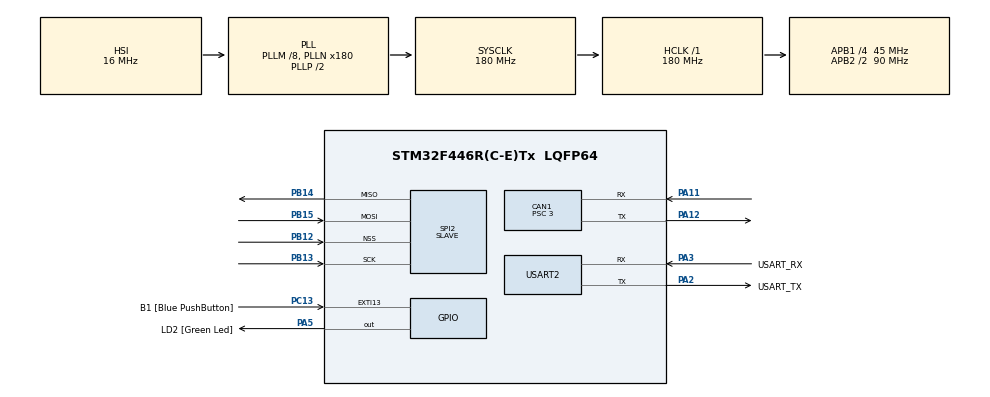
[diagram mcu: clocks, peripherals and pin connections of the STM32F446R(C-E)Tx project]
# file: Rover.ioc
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CAN1.BS1=CAN_BS1_12TQ
CAN1.BS2=CAN_BS2_2TQ
CAN1.CalculateBaudRate=1000000
CAN1.CalculateTimeBit=1000
CAN1.CalculateTimeQuantum=66.66666666666666
CAN1.Prescaler=3
Mcu.Family=STM32F4
Mcu.Name=STM32F446R(C-E)Tx
Mcu.Package=LQFP64
NVIC.CAN1_RX0_IRQn=true\:0\:0\:false\:false\:true\:true\:true\:true
NVIC.PriorityGroup=NVIC_PRIORITYGROUP_0
NVIC.SPI2_IRQn=true\:0\:0\:false\:false\:true\:true\:true\:true
PA11.Mode=CAN_Activate
PA11.Signal=CAN1_RX
PA12.Mode=CAN_Activate
PA12.Signal=CAN1_TX
PA13.GPIO_Label=TMS
PA13.Mode=Serial_Wire
PA13.Signal=SYS_JTMS-SWDIO
PA14.GPIO_Label=TCK
PA14.Mode=Serial_Wire
PA14.Signal=SYS_JTCK-SWCLK
PA2.GPIO_Label=USART_TX
PA2.Mode=Asynchronous
PA2.Signal=USART2_TX
PA3.GPIO_Label=USART_RX
PA3.Mode=Asynchronous
PA3.Signal=USART2_RX
PA5.GPIO_Label=LD2 [Green Led]
PA5.Signal=GPIO_Output
PB12.Mode=NSS_Signal_Hard_Input
PB12.Signal=SPI2_NSS
PB13.Mode=Full_Duplex_Slave
PB13.Signal=SPI2_SCK
PB14.Mode=Full_Duplex_Slave
PB14.Signal=SPI2_MISO
PB15.Mode=Full_Duplex_Slave
PB15.Signal=SPI2_MOSI
PB3.GPIO_Label=SWO
PB3.Signal=SYS_JTDO-SWO
PC13.GPIO_Label=B1 [Blue PushButton]
PC13.GPIO_ModeDefaultEXTI=GPIO_MODE_IT_FALLING
PC13.Signal=GPXTI13
PC14-OSC32_IN.Mode=LSE-External-Oscillator
PC14-OSC32_IN.Signal=RCC_OSC32_IN
PC15-OSC32_OUT.Mode=LSE-External-Oscillator
PC15-OSC32_OUT.Signal=RCC_OSC32_OUT
PH0-OSC_IN.Mode=HSE-External-Oscillator
PH0-OSC_IN.Signal=RCC_OSC_IN
PH1-OSC_OUT.Mode=HSE-External-Oscillator
PH1-OSC_OUT.Signal=RCC_OSC_OUT
ProjectManager.HeapSize=0x200
ProjectManager.StackSize=0x400
ProjectManager.TargetToolchain=STM32CubeIDE
RCC.48MHZClocksFreq_Value=84000000
RCC.AHBFreq_Value=180000000
RCC.APB1CLKDivider=RCC_HCLK_DIV4
RCC.APB1Freq_Value=45000000
RCC.APB1TimFreq_Value=90000000
RCC.APB2CLKDivider=RCC_HCLK_DIV2
RCC.APB2Freq_Value=90000000
RCC.APB2TimFreq_Value=180000000
RCC.CortexFreq_Value=180000000
RCC.FLatency-AdvancedSettings=FLASH_LATENCY_5
RCC.HCLKFreq_Value=180000000
RCC.HSE_VALUE=8000000
RCC.HSI_VALUE=16000000
RCC.PLLM=8
RCC.PLLN=180
RCC.SYSCLKFreq_VALUE=180000000
RCC.SYSCLKSource=RCC_SYSCLKSOURCE_PLLCLK
RCC.USBFreq_Value=180000000
RCC.VCOOutputFreq_Value=360000000
SPI2.Direction=SPI_DIRECTION_2LINES
SPI2.Mode=SPI_MODE_SLAVE
SPI2.VirtualNSS=VM_NSSHARD
SPI2.VirtualType=VM_SLAVE
USART2.VirtualMode=VM_ASYNC
board=NUCLEO-F446RE

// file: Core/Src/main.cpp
/* USER CODE BEGIN Header */
/**
  ******************************************************************************
  * @file           : main.c
  * @brief          : Main program body
  ******************************************************************************
  * @attention
  *
  * Copyright (c) 2022 STMicroelectronics.
  * All rights reserved.
  *
  * This software is licensed under terms that can be found in the LICENSE file
  * in the root directory of this software component.
  * If no LICENSE file comes with this software, it is provided AS-IS.
  *
  ******************************************************************************
  */
/* USER CODE END Header */
#include "main.h"
#include "can.h"
#include "spi.h"
#include "usart.h"
#include "gpio.h"

/* USER CODE BEGIN Includes */
#include "math.h"
#include "motor.h"
/* USER CODE END Includes */

/* USER CODE BEGIN PD */
#define SPI_BUFFER_SIZE 8			// Bytes
#define STARTUP_TIME 1				// Seconds
#define CTRL_TIMEOUT 1 				// Seconds
/* USER CODE END PD */

/* USER CODE BEGIN PV */
uint32_t loop_count = 0;
uint32_t last_spi_msg = 0;
float dt = 0.001;

CAN_TxHeaderTypeDef   TxHeader;
CAN_RxHeaderTypeDef   RxHeader;
uint32_t              TxMailbox;
uint8_t               TxData[8];
uint8_t				  RxData[8];
uint32_t count = 0;

Motor motor1;
Motor motor2;
Motor motor3;
Motor motor4;

typedef struct
{
  int16_t vel_t_1;    	 	/*!< Specifies the target velocity for motor 1*/
  int16_t vel_t_2;    	 	/*!< Specifies the target velocity for motor 2*/
  int16_t vel_t_3;     		/*!< Specifies the target velocity for motor 3*/
  int16_t vel_t_4;     		/*!< Specifies the target velocity for motor 4*/

} VelocityTargetMsg;

VelocityTargetMsg vel_targ;

uint8_t spi_buf[SPI_BUFFER_SIZE];
HAL_SPI_StateTypeDef spi_state;

/* USER CODE END PV */

void SystemClock_Config(void);

int main(void)
{

  /* MCU Configuration--------------------------------------------------------*/

  /* Reset of all peripherals, Initializes the Flash interface and the Systick. */
pinout

HAL_Init();

  /* Configure the system clock */
  SystemClock_Config();

  /* Initialize all configured peripherals */
  MX_GPIO_Init();
  MX_USART2_UART_Init();
  MX_CAN1_Init();
  MX_SPI2_Init();
  /* USER CODE BEGIN 2 */

  CAN_FilterTypeDef sFilterConfig;
  sFilterConfig.FilterBank = 10;
  sFilterConfig.FilterMode = CAN_FILTERMODE_IDMASK;
  sFilterConfig.FilterScale = CAN_FILTERSCALE_32BIT;
  sFilterConfig.FilterIdHigh = 0x0000;
  sFilterConfig.FilterIdLow = 0x0000;
  sFilterConfig.FilterMaskIdHigh = 0x0000;
  sFilterConfig.FilterMaskIdLow = 0x0000;
  sFilterConfig.FilterFIFOAssignment = CAN_RX_FIFO0;
  sFilterConfig.FilterActivation = CAN_FILTER_ENABLE;
  sFilterConfig.SlaveStartFilterBank = 0;
  HAL_CAN_ConfigFilter(&hcan1, &sFilterConfig);

  HAL_CAN_Start(&hcan1);
  HAL_CAN_ActivateNotification(&hcan1, CAN_IT_RX_FIFO0_MSG_PENDING);

  TxHeader.IDE = CAN_ID_STD;			//Type of Identifier (Standard)
  TxHeader.StdId = 0x200;				//Standard ID
  TxHeader.RTR = CAN_RTR_DATA;			//
  TxHeader.DLC = 8; 					//Data Length
  TxHeader.TransmitGlobalTime = DISABLE;

  float current1 = 0.0;
  float current2 = 0.0;
  float current3 = 0.0;
  float current4 = 0.0;
  float target_vel1 = 0.0;
  float target_vel2 = 0.0;
  int16_t current_word1 = 0.0;
  int16_t current_word2 = 0.0;
  int16_t current_word3 = 0.0;
  int16_t current_word4 = 0.0;

  /* USER CODE END 2 */

  /* Infinite loop */
  /* USER CODE BEGIN WHILE */

  float kp_gain = 0.0001;
  float ki_gain = 0.0001;
  float kd_gain = 0.01;
  float max_current = 5.0;
  motor1.PID_Init(kp_gain, ki_gain, kd_gain, max_current);
  motor2.PID_Init(kp_gain, ki_gain, kd_gain, max_current);
  motor3.PID_Init(kp_gain, ki_gain, kd_gain, max_current);
  motor4.PID_Init(kp_gain, ki_gain, kd_gain, max_current);

  while (1)
  {
    /* USER CODE END WHILE */

    /* USER CODE BEGIN 3 */
	  spi_state = HAL_SPI_GetState(&hspi2);
	  if(spi_state = HAL_SPI_STATE_READY)
		  HAL_SPI_Receive_IT(&hspi2, (uint8_t *)spi_buf, SPI_BUFFER_SIZE);

	  if( (loop_count - last_spi_msg)*dt > CTRL_TIMEOUT || loop_count*dt < STARTUP_TIME)
	  {
		  vel_targ.vel_t_1 = 0.0;
		  vel_targ.vel_t_2 = 0.0;
		  vel_targ.vel_t_3 = 0.0;
		  vel_targ.vel_t_4 = 0.0;
		  current1 = 0.0;
		  current2 = 0.0;
		  current3 = 0.0;
		  current4 = 0.0;
	  }
	  else
	  {
		  current1 = motor1.PID_Controller(vel_targ.vel_t_1);
		  current2 = motor2.PID_Controller(vel_targ.vel_t_2);
		  current3 = motor3.PID_Controller(vel_targ.vel_t_3);
		  current4 = motor4.PID_Controller(vel_targ.vel_t_4);
	  }
//	  else if(dt*loop_count < 10)
//	  {
//		  float freq = 0.25;
//	      target_vel1 = sinf(2.0*M_PI*loop_count*dt*freq)*2000+2000;
//		  target_vel2 = -target_vel1;
////		  current = sinf(2.0*M_PI*loop_count*dt)*1.0;
//		  current1 = motor1.PID_Controller(target_vel1);
////		  current2 = motor2.PID_Controller(target_vel1);
////		  current3 = motor3.PID_Controller(target_vel2);
//		  current2 = motor2.PID_Controller(target_vel2);
//		  current3 = motor3.PID_Controller(target_vel1);
//		  current4 = motor4.PID_Controller(target_vel2);
//	  }
//	  else if (dt*loop_count < 12)
//	  {
//		  target_vel1 = 2000;
//		  target_vel2 = -target_vel1;
//		  current1 = motor1.PID_Controller(target_vel1);
//		  //		  current2 = motor2.PID_Controller(target_vel1);
//		  //		  current3 = motor3.PID_Controller(target_vel2);
//		  current2 = motor2.PID_Controller(target_vel2);
//		  current3 = motor3.PID_Controller(target_vel1);
//		  current4 = motor4.PID_Controller(target_vel2);
//	  }
//	  else
//	  {
//		  current1 = 0.0;
//		  current2 = 0.0;
//		  current3 = 0.0;
//		  current4 = 0.0;
//
//		  motor1.PID_Set_Gains(kp_gain, ki_gain, kd_gain);
//		  motor2.PID_Set_Gains(kp_gain, ki_gain, kd_gain);
//		  motor3.PID_Set_Gains(kp_gain, ki_gain, kd_gain);
//		  motor4.PID_Set_Gains(kp_gain, ki_gain, kd_gain);
//
//
//	  }
	  current_word1 = (int16_t)(current1/20.0*16384);
	  current_word2 = (int16_t)(current2/20.0*16384);
	  current_word3 = (int16_t)(current3/20.0*16384);
	  current_word4 = (int16_t)(current4/20.0*16384);
	  TxData[0] = current_word1 >> 8;
	  TxData[1] = (int8_t)(current_word1 & 0x00ff);
	  TxData[2] = current_word2 >> 8;
	  TxData[3] = (int8_t)(current_word2 & 0x00ff);
	  TxData[4] = current_word3 >> 8;
	  TxData[5] = (int8_t)(current_word3 & 0x00ff);
	  TxData[6] = current_word4 >> 8;
	  TxData[7] = (int8_t)(current_word4 & 0x00ff);

	  HAL_GPIO_TogglePin(LD2_GPIO_Port, LD2_Pin);

	  if (HAL_CAN_AddTxMessage(&hcan1, &TxHeader, TxData, &TxMailbox) != HAL_OK)
	  {
		 Error_Handler ();
	  }

	  /* Wait 1 second */
	  HAL_Delay(1);
	  loop_count++;
  }
  /* USER CODE END 3 */
}

void SystemClock_Config(void)
{
  RCC_OscInitTypeDef RCC_OscInitStruct = {0};
  RCC_ClkInitTypeDef RCC_ClkInitStruct = {0};

  /** Configure the main internal regulator output voltage
  */
  __HAL_RCC_PWR_CLK_ENABLE();
  __HAL_PWR_VOLTAGESCALING_CONFIG(PWR_REGULATOR_VOLTAGE_SCALE1);

  /** Initializes the RCC Oscillators according to the specified parameters
  * in the RCC_OscInitTypeDef structure.
  */
  RCC_OscInitStruct.OscillatorType = RCC_OSCILLATORTYPE_HSI;
  RCC_OscInitStruct.HSIState = RCC_HSI_ON;
  RCC_OscInitStruct.HSICalibrationValue = RCC_HSICALIBRATION_DEFAULT;
  RCC_OscInitStruct.PLL.PLLState = RCC_PLL_ON;
  RCC_OscInitStruct.PLL.PLLSource = RCC_PLLSOURCE_HSI;
  RCC_OscInitStruct.PLL.PLLM = 8;
  RCC_OscInitStruct.PLL.PLLN = 180;
  RCC_OscInitStruct.PLL.PLLP = RCC_PLLP_DIV2;
  RCC_OscInitStruct.PLL.PLLQ = 2;
  RCC_OscInitStruct.PLL.PLLR = 2;
  if (HAL_RCC_OscConfig(&RCC_OscInitStruct) != HAL_OK)
  {
    Error_Handler();
  }

  /** Activate the Over-Drive mode
  */
  if (HAL_PWREx_EnableOverDrive() != HAL_OK)
  {
    Error_Handler();
  }

  /** Initializes the CPU, AHB and APB buses clocks
  */
  RCC_ClkInitStruct.ClockType = RCC_CLOCKTYPE_HCLK|RCC_CLOCKTYPE_SYSCLK
                              |RCC_CLOCKTYPE_PCLK1|RCC_CLOCKTYPE_PCLK2;
  RCC_ClkInitStruct.SYSCLKSource = RCC_SYSCLKSOURCE_PLLCLK;
  RCC_ClkInitStruct.AHBCLKDivider = RCC_SYSCLK_DIV1;
  RCC_ClkInitStruct.APB1CLKDivider = RCC_HCLK_DIV4;
  RCC_ClkInitStruct.APB2CLKDivider = RCC_HCLK_DIV2;

  if (HAL_RCC_ClockConfig(&RCC_ClkInitStruct, FLASH_LATENCY_5) != HAL_OK)
  {
    Error_Handler();
  }
}

/* USER CODE BEGIN 4 */
/**
  * @brief  CAN Receive Callback Function
  * @retval None
  */
void HAL_CAN_RxFifo0MsgPendingCallback(CAN_HandleTypeDef *hcan)
{
	count++;
  if (HAL_CAN_GetRxMessage(hcan, CAN_RX_FIFO0, &RxHeader, RxData) != HAL_OK)
  {
    Error_Handler();
  }
//
  if ((RxHeader.StdId == 0x201))
  {
	  motor1.state.Ang = RxData[0]<<8 | RxData[1];
	  motor1.state.Vel = RxData[2]<<8 | RxData[3];
	  motor1.state.Torq = RxData[4]<<8 | RxData[5];
	  motor1.state.Temp = RxData[6];
  }
  else if((RxHeader.StdId == 0x202))
    {
  	  motor2.state.Ang = RxData[0]<<8 | RxData[1];
  	  motor2.state.Vel = RxData[2]<<8 | RxData[3];
  	  motor2.state.Torq = RxData[4]<<8 | RxData[5];
  	  motor2.state.Temp = RxData[6];
    }
  else if((RxHeader.StdId == 0x203))
    {
  	  motor3.state.Ang = RxData[0]<<8 | RxData[1];
  	  motor3.state.Vel = RxData[2]<<8 | RxData[3];
  	  motor3.state.Torq = RxData[4]<<8 | RxData[5];
  	  motor3.state.Temp = RxData[6];
    }
  else if((RxHeader.StdId == 0x204))
    {
  	  motor4.state.Ang = RxData[0]<<8 | RxData[1];
  	  motor4.state.Vel = RxData[2]<<8 | RxData[3];
  	  motor4.state.Torq = RxData[4]<<8 | RxData[5];
  	  motor4.state.Temp = RxData[6];
    }
}

/**
  * @brief  SPI Receive Callback Function
  * @retval None
  */
void HAL_SPI_RxCpltCallback(SPI_HandleTypeDef * hspi)
{
	last_spi_msg = loop_count;
	vel_targ.vel_t_1 = spi_buf[0] | spi_buf[1]<<8;
	vel_targ.vel_t_2 = spi_buf[2] | spi_buf[3]<<8;
	vel_targ.vel_t_3 = spi_buf[4] | spi_buf[5]<<8;
	vel_targ.vel_t_4 = spi_buf[6] | spi_buf[7]<<8;
}
/* USER CODE END 4 */

void Error_Handler(void)
{
  __disable_irq();
  while (1)
  {
  }
}
